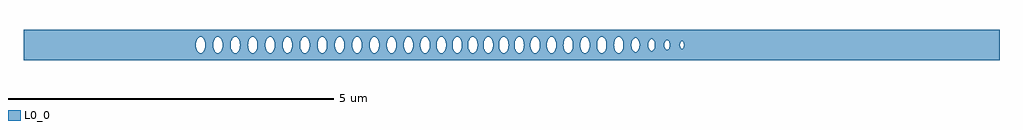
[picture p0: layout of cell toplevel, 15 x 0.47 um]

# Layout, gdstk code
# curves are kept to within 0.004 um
import gdstk
lib = gdstk.Library(unit=1e-6, precision=1e-09)
def P(c, l, *ps):  # polygons
    for p in ps: c.add(gdstk.Polygon(p, *l))
L0_0 = (0, 0)

toplevel = lib.new_cell('toplevel')
P(toplevel, L0_0, [(-4.583,0.016),(-4.58,0.234),(-7.5,0.234),(-7.5,-0.016),(-4.851,-0.016),(-4.848,0.039),(-4.835,0.081),(-4.806,0.119),(-4.779,0.128),(-4.752,0.119),(-4.729,0.093),(-4.713,0.054),(-4.706,0),(-4.713,-0.054),(-4.729,-0.093),(-4.752,-0.119),(-4.779,-0.128),(-4.806,-0.119),(-4.825,-0.098),(-4.84,-0.068),(-4.851,-0.016),(-7.5,-0.016),(-7.5,-0.234),(-4.58,-0.234)],
  [(-4.573,0.068),(-4.558,0.098),(-4.538,0.119),(-4.512,0.128),(-4.485,0.119),(-4.465,0.098),(-4.45,0.068),(-4.439,-0.008),(-4.444,-0.047),(-4.462,-0.093),(-4.485,-0.119),(-4.507,-0.127),(-4.53,-0.123),(-4.55,-0.108),(-4.57,-0.075),(-4.58,-0.039),(-4.58,-0.234),(-4.258,-0.234),(-4.258,-0.125),(-4.279,-0.112),(-4.294,-0.093),(-4.312,-0.047),(-4.317,-0.008),(-4.312,0.047),(-4.303,0.075),(-4.283,0.108),(-4.258,0.125),(-4.258,0.234),(-4.58,0.234),(-4.58,0.039)],
  [(-4.173,-0.016),(-4.183,-0.068),(-4.198,-0.098),(-4.226,-0.123),(-4.258,-0.125),(-4.258,-0.234),(-3.955,-0.234),(-3.955,-0.121),(-3.977,-0.128),(-3.991,-0.125),(-4.02,-0.103),(-4.041,-0.061),(-4.05,0),(-4.041,0.061),(-4.02,0.103),(-3.991,0.125),(-3.977,0.128),(-3.955,0.121),(-3.955,0.234),(-4.258,0.234),(-4.258,0.125),(-4.226,0.123),(-4.198,0.098),(-4.177,0.047)],
  [(-3.649,-0.068),(-3.66,-0.093),(-3.683,-0.119),(-3.71,-0.128),(-3.723,-0.125),(-3.745,-0.112),(-3.763,-0.087),(-3.782,-0.016),(-3.78,0.032),(-3.771,0.068),(-3.756,0.098),(-3.737,0.119),(-3.71,0.128),(-3.683,0.119),(-3.66,0.093),(-3.649,0.068),(-3.649,0.234),(-3.955,0.234),(-3.955,0.121),(-3.938,0.108),(-3.921,0.081),(-3.905,0.016),(-3.907,-0.032),(-3.916,-0.068),(-3.938,-0.108),(-3.955,-0.121),(-3.955,-0.234),(-3.649,-0.234)],
  [(-3.248,-0.008),(-3.247,0.234),(-3.649,0.234),(-3.649,0.067),(-3.638,-0.008),(-3.515,-0.008),(-3.512,0.039),(-3.492,0.093),(-3.469,0.119),(-3.443,0.128),(-3.416,0.119),(-3.396,0.098),(-3.379,0.061),(-3.37,0.008),(-3.375,-0.047),(-3.393,-0.093),(-3.416,-0.119),(-3.443,-0.128),(-3.469,-0.119),(-3.489,-0.098),(-3.504,-0.068),(-3.515,-0.008),(-3.638,-0.008),(-3.649,-0.068),(-3.649,-0.234),(-3.247,-0.234)],
  [(-3.244,0.039),(-3.234,0.075),(-3.214,0.108),(-3.189,0.125),(-3.162,0.125),(-3.137,0.108),(-3.117,0.075),(-3.105,0.032),(-3.103,-0.008),(-3.108,-0.047),(-3.126,-0.093),(-3.149,-0.119),(-3.175,-0.128),(-3.202,-0.119),(-3.222,-0.098),(-3.237,-0.068),(-3.247,-0.024),(-3.247,-0.234),(-2.954,-0.234),(-2.954,-0.098),(-2.974,-0.054),(-2.981,0),(-2.974,0.054),(-2.954,0.098),(-2.954,0.234),(-3.247,0.234)],
  [(-2.839,-0.039),(-2.855,-0.087),(-2.882,-0.119),(-2.908,-0.128),(-2.922,-0.125),(-2.954,-0.098),(-2.954,-0.234),(-2.65,-0.234),(-2.65,-0.126),(-2.676,-0.112),(-2.694,-0.087),(-2.713,-0.016),(-2.71,0.039),(-2.697,0.081),(-2.676,0.112),(-2.65,0.126),(-2.65,0.234),(-2.954,0.234),(-2.954,0.098),(-2.935,0.119),(-2.908,0.128),(-2.869,0.108),(-2.852,0.081),(-2.839,0.039)],
  [(-2.641,0.128),(-2.614,0.119),(-2.591,0.093),(-2.575,0.054),(-2.569,-0.016),(-2.577,-0.061),(-2.598,-0.103),(-2.627,-0.125),(-2.65,-0.126),(-2.65,-0.234),(-2.328,-0.234),(-2.328,-0.098),(-2.36,-0.125),(-2.374,-0.128),(-2.4,-0.119),(-2.432,-0.075),(-2.446,-0.016),(-2.444,0.032),(-2.435,0.068),(-2.409,0.112),(-2.374,0.128),(-2.347,0.119),(-2.328,0.098),(-2.328,0.234),(-2.65,0.234),(-2.65,0.126)],
  [(-2.328,0.234),(-2.328,0.098),(-2.31,0.061),(-2.301,0.008),(-2.306,-0.047),(-2.328,-0.098),(-2.328,-0.234),(-2.035,-0.234),(-2.035,-0.016),(-2.046,-0.068),(-2.061,-0.098),(-2.08,-0.119),(-2.107,-0.128),(-2.134,-0.119),(-2.157,-0.093),(-2.171,-0.061),(-2.179,-0.016),(-2.177,0.032),(-2.166,0.075),(-2.146,0.108),(-2.121,0.125),(-2.094,0.125),(-2.068,0.108),(-2.046,0.068),(-2.035,0.016),(-2.035,0.234)],
  [(-1.644,-0.068),(-1.655,-0.016),(-1.653,0.032),(-1.644,0.067),(-1.644,0.234),(-2.035,0.234),(-2.035,-0.016),(-1.915,-0.016),(-1.912,0.039),(-1.899,0.081),(-1.878,0.112),(-1.843,0.128),(-1.816,0.119),(-1.793,0.093),(-1.777,0.054),(-1.77,0),(-1.777,-0.055),(-1.793,-0.093),(-1.816,-0.119),(-1.843,-0.128),(-1.869,-0.119),(-1.889,-0.098),(-1.904,-0.068),(-1.915,-0.016),(-2.035,-0.016),(-2.035,-0.234),(-1.644,-0.234)],
  [(-1.514,-0.039),(-1.533,-0.093),(-1.548,-0.112),(-1.569,-0.125),(-1.583,-0.128),(-1.609,-0.119),(-1.629,-0.098),(-1.644,-0.068),(-1.644,-0.234),(-1.328,-0.234),(-1.328,-0.128),(-1.354,-0.119),(-1.374,-0.098),(-1.389,-0.068),(-1.4,-0.016),(-1.397,0.039),(-1.386,0.075),(-1.363,0.112),(-1.328,0.128),(-1.328,0.234),(-1.644,0.234),(-1.644,0.068),(-1.629,0.098),(-1.609,0.119),(-1.583,0.128),(-1.556,0.119),(-1.533,0.093),(-1.515,0.047),(-1.51,0.008)],
  [(-1.039,-0.108),(-1.078,-0.128),(-1.113,-0.112),(-1.142,-0.061),(-1.151,0),(-1.142,0.061),(-1.113,0.112),(-1.078,0.128),(-1.039,0.108),(-1.039,0.234),(-1.328,0.234),(-1.328,0.128),(-1.301,0.119),(-1.278,0.093),(-1.26,0.047),(-1.255,0.008),(-1.26,-0.047),(-1.278,-0.093),(-1.301,-0.119),(-1.328,-0.128),(-1.328,-0.234),(-1.039,-0.234)],
  [(-1.009,-0.039),(-1.022,-0.081),(-1.039,-0.108),(-1.039,-0.234),(-0.767,-0.234),(-0.767,-0.047),(-0.775,-0.075),(-0.795,-0.108),(-0.82,-0.125),(-0.843,-0.126),(-0.869,-0.112),(-0.887,-0.087),(-0.906,-0.016),(-0.904,0.032),(-0.895,0.068),(-0.88,0.098),(-0.861,0.119),(-0.834,0.128),(-0.807,0.119),(-0.784,0.093),(-0.767,0.047),(-0.767,0.234),(-1.039,0.234),(-1.039,0.108),(-1.022,0.081),(-1.009,0.039)],
  [(-0.765,-0.039),(-0.767,-0.234),(-0.409,-0.234),(-0.409,-0.087),(-0.428,-0.016),(-0.425,0.039),(-0.409,0.087),(-0.409,0.234),(-0.767,0.234),(-0.762,-0.016),(-0.666,-0.016),(-0.663,0.039),(-0.652,0.075),(-0.629,0.112),(-0.594,0.128),(-0.567,0.119),(-0.544,0.093),(-0.526,0.047),(-0.521,0.008),(-0.526,-0.047),(-0.544,-0.093),(-0.567,-0.119),(-0.594,-0.128),(-0.62,-0.119),(-0.64,-0.098),(-0.655,-0.068),(-0.666,-0.016),(-0.762,-0.016)],
  [(-0.286,-0.032),(-0.306,-0.093),(-0.333,-0.121),(-0.356,-0.128),(-0.374,-0.123),(-0.395,-0.108),(-0.409,-0.087),(-0.409,-0.234),(-0.137,-0.234),(-0.137,-0.123),(-0.157,-0.108),(-0.177,-0.075),(-0.191,-0.008),(-0.18,0.068),(-0.165,0.098),(-0.137,0.123),(-0.137,0.234),(-0.409,0.234),(-0.409,0.087),(-0.391,0.112),(-0.369,0.125),(-0.342,0.125),(-0.321,0.112),(-0.306,0.093),(-0.29,0.054),(-0.283,0)],
  [(-0.128,0.126),(-0.096,0.121),(-0.072,0.098),(-0.051,0.047),(-0.046,-0.008),(-0.057,-0.068),(-0.072,-0.098),(-0.105,-0.125),(-0.137,-0.123),(-0.137,-0.234),(0.143,-0.234),(0.143,-0.121),(0.12,-0.128),(0.081,-0.108),(0.059,-0.068),(0.048,-0.016),(0.051,0.039),(0.074,0.098),(0.107,0.125),(0.12,0.128),(0.143,0.121),(0.143,0.234),(-0.137,0.234),(-0.137,0.123)],
  [(0.189,-0.039),(0.17,-0.093),(0.143,-0.121),(0.143,-0.234),(0.423,-0.234),(0.423,-0.075),(0.391,-0.119),(0.364,-0.128),(0.346,-0.123),(0.325,-0.108),(0.311,-0.087),(0.292,-0.016),(0.294,0.032),(0.303,0.068),(0.318,0.098),(0.338,0.119),(0.364,0.128),(0.391,0.119),(0.423,0.075),(0.423,0.234),(0.143,0.234),(0.143,0.121),(0.17,0.093),(0.184,0.061),(0.193,0)],
  [(0.434,-0.032),(0.423,-0.075),(0.423,-0.234),(0.8,-0.234),(0.8,0.234),(0.423,0.234),(0.423,0.075),(0.432,0.047),(0.436,-0.008),(0.543,-0.008),(0.546,0.039),(0.566,0.093),(0.589,0.119),(0.615,0.128),(0.642,0.119),(0.665,0.093),(0.683,0.047),(0.688,0.008),(0.683,-0.047),(0.665,-0.093),(0.642,-0.119),(0.615,-0.128),(0.589,-0.119),(0.569,-0.098),(0.554,-0.068),(0.543,-0.008),(0.436,-0.008)],
  [(0.943,-0.024),(0.933,-0.068),(0.918,-0.098),(0.898,-0.119),(0.872,-0.128),(0.845,-0.119),(0.825,-0.098),(0.81,-0.068),(0.8,-0.026),(0.8,-0.234),(1.099,-0.234),(1.099,-0.115),(1.068,-0.068),(1.057,-0.008),(1.068,0.068),(1.099,0.115),(1.099,0.234),(0.8,0.234),(0.8,0.024),(0.81,0.068),(0.833,0.108),(0.858,0.125),(0.885,0.125),(0.91,0.108),(0.933,0.068),(0.943,0.024)],
  [(1.111,0.123),(1.143,0.125),(1.176,0.098),(1.197,0.047),(1.202,-0.008),(1.191,-0.068),(1.168,-0.108),(1.156,-0.119),(1.129,-0.128),(1.099,-0.115),(1.099,-0.234),(1.418,-0.234),(1.418,-0.115),(1.387,-0.128),(1.361,-0.119),(1.349,-0.108),(1.326,-0.068),(1.315,-0.008),(1.326,0.068),(1.349,0.108),(1.361,0.119),(1.387,0.128),(1.418,0.115),(1.418,0.234),(1.099,0.234),(1.099,0.115)],
  [(1.459,-0.016),(1.449,-0.068),(1.418,-0.115),(1.418,-0.234),(1.704,-0.234),(1.704,-0.081),(1.675,-0.119),(1.648,-0.128),(1.621,-0.119),(1.589,-0.075),(1.575,0),(1.589,0.075),(1.621,0.119),(1.648,0.128),(1.675,0.119),(1.704,0.081),(1.704,0.234),(1.418,0.234),(1.418,0.115),(1.449,0.068),(1.459,0.024)],
  [(1.718,-0.032),(1.704,-0.081),(1.704,-0.234),(2.107,-0.234),(2.107,-0.04),(2.102,-0.018),(2.107,0.234),(1.704,0.234),(1.704,0.081),(1.717,0.039),(1.72,-0.014),(1.844,-0.014),(1.848,0.041),(1.858,0.071),(1.883,0.103),(1.906,0.111),(1.929,0.103),(1.949,0.081),(1.968,0.014),(1.964,-0.041),(1.954,-0.071),(1.933,-0.1),(1.914,-0.11),(1.894,-0.109),(1.866,-0.085),(1.848,-0.041),(1.844,-0.014),(1.72,-0.014)],
  [(2.205,-0.018),(2.187,-0.072),(2.157,-0.094),(2.131,-0.085),(2.107,-0.041),(2.107,-0.234),(2.388,-0.234),(2.388,-0.077),(2.372,-0.07),(2.36,-0.053),(2.348,0),(2.36,0.053),(2.372,0.07),(2.388,0.077),(2.388,0.234),(2.107,0.234),(2.107,0.04),(2.131,0.085),(2.15,0.094),(2.167,0.091),(2.184,0.076),(2.198,0.05)],
  [(2.431,-0.014),(2.426,-0.041),(2.413,-0.065),(2.388,-0.077),(2.388,-0.234),(7.5,-0.234),(7.5,0.234),(2.388,0.234),(2.388,0.077),(2.408,0.07),(2.421,0.053),(2.432,-0.004),(2.588,-0.004),(2.594,0.035),(2.616,0.06),(2.639,0.049),(2.651,0.015),(2.646,-0.035),(2.624,-0.06),(2.601,-0.049),(2.588,-0.004),(2.432,-0.004)])

lib.write_gds('toplevel.gds')
